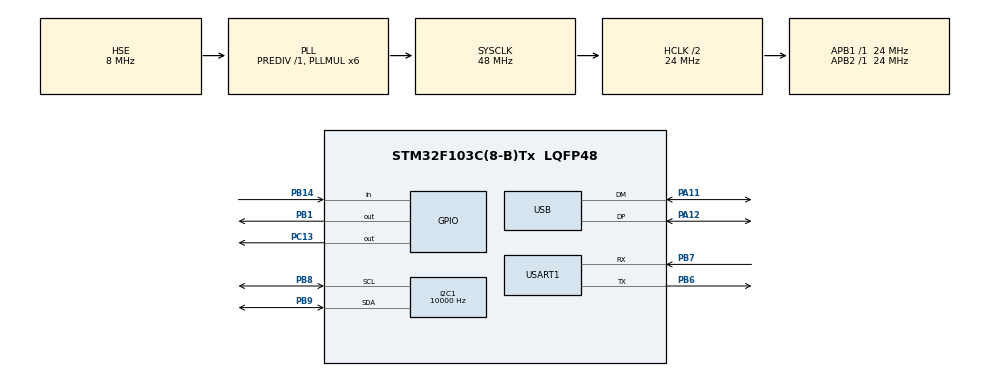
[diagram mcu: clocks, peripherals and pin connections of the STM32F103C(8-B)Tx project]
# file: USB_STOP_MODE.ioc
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I2C1.ClockSpeed=10000
Mcu.Family=STM32F1
Mcu.Name=STM32F103C(8-B)Tx
Mcu.Package=LQFP48
NVIC.PriorityGroup=NVIC_PRIORITYGROUP_4
NVIC.RTC_Alarm_IRQn=true\:0\:0\:false\:false\:true\:true\:true
NVIC.USB_LP_CAN1_RX0_IRQn=true\:0\:0\:false\:false\:true\:false\:true
PA11.Mode=Device
PA11.Signal=USB_DM
PA12.Mode=Device
PA12.Signal=USB_DP
PA13.Mode=Serial_Wire
PA13.Signal=SYS_JTMS-SWDIO
PA14.Mode=Serial_Wire
PA14.Signal=SYS_JTCK-SWCLK
PB1.Signal=GPIO_Output
PB14.GPIO_PuPd=GPIO_PULLDOWN
PB14.Signal=GPIO_Input
PB6.Mode=Asynchronous
PB6.Signal=USART1_TX
PB7.Mode=Asynchronous
PB7.Signal=USART1_RX
PB8.Mode=I2C
PB8.Signal=I2C1_SCL
PB9.Mode=I2C
PB9.Signal=I2C1_SDA
PC13-TAMPER-RTC.Signal=GPIO_Output
PC14-OSC32_IN.Mode=LSE-External-Oscillator
PC14-OSC32_IN.Signal=RCC_OSC32_IN
PC15-OSC32_OUT.Mode=LSE-External-Oscillator
PC15-OSC32_OUT.Signal=RCC_OSC32_OUT
PD0-OSC_IN.Mode=HSE-External-Oscillator
PD0-OSC_IN.Signal=RCC_OSC_IN
PD1-OSC_OUT.Mode=HSE-External-Oscillator
PD1-OSC_OUT.Signal=RCC_OSC_OUT
ProjectManager.HeapSize=0x200
ProjectManager.StackSize=0x400
ProjectManager.TargetToolchain=STM32CubeIDE
RCC.AHBCLKDivider=RCC_SYSCLK_DIV2
RCC.AHBFreq_Value=24000000
RCC.APB1Freq_Value=24000000
RCC.APB1TimFreq_Value=24000000
RCC.APB2Freq_Value=24000000
RCC.APB2TimFreq_Value=24000000
RCC.HCLKFreq_Value=24000000
RCC.PLLMUL=RCC_PLL_MUL6
RCC.RTCClockSelection=RCC_RTCCLKSOURCE_LSE
RCC.SYSCLKFreq_VALUE=48000000
RCC.SYSCLKSource=RCC_SYSCLKSOURCE_PLLCLK
RCC.USBFreq_Value=48000000
USART1.VirtualMode=VM_ASYNC
USB_DEVICE.CLASS_NAME_FS=CDC
USB_DEVICE.PRODUCT_STRING_CDC_FS=Data Logger
USB_DEVICE.VirtualMode=Cdc
USB_DEVICE.VirtualModeFS=Cdc_FS
VP_RTC_VS_RTC_Activate.Mode=RTC_Enabled
VP_USB_DEVICE_VS_USB_DEVICE_CDC_FS.Mode=CDC_FS
board=custom

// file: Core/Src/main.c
/* USER CODE BEGIN Header */
/**
 ******************************************************************************
 * @file           : main.c
 * @brief          : Main program body
 ******************************************************************************
 * @attention
 *
 * <h2><center>&copy; Copyright (c) 2021 STMicroelectronics.
 * All rights reserved.</center></h2>
 *
 * This software component is licensed by ST under BSD 3-Clause license,
 * the "License"; You may not use this file except in compliance with the
 * License. You may obtain a copy of the License at:
 *                        opensource.org/licenses/BSD-3-Clause
 *
 ******************************************************************************
 */
/* USER CODE END Header */
#include "main.h"
#include "usb_device.h"

/* USER CODE BEGIN Includes */
#include "bmp280.h"
#include <stdio.h>
#include <stdlib.h>
#include <string.h>
#include "usbd_cdc.h"
#include "usbd_cdc_if.h"
/* USER CODE END Includes */

/* USER CODE BEGIN PD */
#define RX_BUFF_SIZE   64  /* Max Received data 1KB */
#define DATA_BUFF_SIZE 256
#define SLEEP_TIME	   20U
/* USER CODE END PD */

/* USER CODE BEGIN PM */
#define LED_ON()	  HAL_GPIO_WritePin(GPIOC, GPIO_PIN_13, GPIO_PIN_RESET);
#define LED_OFF()	  HAL_GPIO_WritePin(GPIOC, GPIO_PIN_13, GPIO_PIN_SET);
#define LED_TOGGLE()  HAL_GPIO_TogglePin(GPIOC, GPIO_PIN_13);

/* USER CODE END PM */

USBD_HandleTypeDef  hUsbDeviceFS;

I2C_HandleTypeDef hi2c1;

RTC_HandleTypeDef hrtc;

UART_HandleTypeDef huart1;

/* USER CODE BEGIN PV */
volatile uint8_t sleep_enable = true;
uint8_t alarm_flag = 1;
volatile uint8_t usb_connected = false;
volatile int8_t usb_cdc_open = -1;
volatile uint8_t usb_buffer[RX_BUFF_SIZE];

uint16_t size;
uint8_t Data[DATA_BUFF_SIZE];

/* USER CODE END PV */

void SystemClock_Config(void);
static void MX_GPIO_Init(void);
static void MX_I2C1_Init(void);
static void MX_USART1_UART_Init(void);
static void MX_RTC_Init(void);
/* USER CODE BEGIN PFP */
void setAlarm(void);
void resetTime(void);
void HAL_RTC_AlarmAEventCallback(RTC_HandleTypeDef *hrtc); //This routine is called when alarm interrupt occurs
void enterSleepMode(void);
void enterStopMode(void);
void enterStandbyMode(void);
/* USER CODE END PFP */

/* USER CODE BEGIN 0 */
static void configurePB14Interrupt(void);
static void configurePA11Interrupt(void);
uint8_t usbPowerDetected(void);
uint8_t isUSBConnected(void);
void serialMenu();
void serialMenuUSB();
void sleepTest(void);
void stopTest(void);
/* USER CODE END 0 */

int main(void)
{

	/* MCU Configuration--------------------------------------------------------*/

	/* Reset of all peripherals, Initializes the Flash interface and the Systick. */
	HAL_Init();

	/* Configure the system clock */
	SystemClock_Config();

	/* Initialize all configured peripherals */
	MX_GPIO_Init();
	MX_I2C1_Init();
	MX_USART1_UART_Init();
	MX_USB_DEVICE_Init();
	MX_RTC_Init();
	/* USER CODE BEGIN 2 */
	const uint16_t DELAY_TIME = 1000;

	resetTime();
	char msg[] = "Startup...\r\n";
	LED_ON();
	HAL_UART_Transmit(&huart1, (uint8_t*) msg, sizeof(msg), HAL_MAX_DELAY);
	CDC_Transmit_FS((uint8_t*) msg, strlen(msg));

	HAL_Delay(DELAY_TIME);
	LED_OFF();
	HAL_Delay(DELAY_TIME);

	/* USER CODE END 2 */

	/* Infinite loop */
	while (1)
	{

		/* USER CODE BEGIN 3 */
		if ((usb_cdc_open != -1) && alarm_flag)
		{
			serialMenuUSB();
		}

		usb_connected = isUSBConnected();
		sleep_enable = !usb_connected;

		if (sleep_enable)
		{
			usb_connected = 0;
			LED_OFF();
			USBD_Stop(&hUsbDeviceFS);
			configurePA11Interrupt();
			enterStopMode();			// ~100uA
			// System clock set to HSI RC after waking from stop mode
			SystemClock_Config();
			HAL_ResumeTick();
			MX_USB_DEVICE_Init();
			LED_ON();
			resetTime();
			setAlarm();
			alarm_flag = 0;
			HAL_Delay(500);
		}

		if (alarm_flag)
		{
			resetTime();
			setAlarm();
			alarm_flag = 0;
		}
	}
	/* USER CODE END 3 */
}

void SystemClock_Config(void)
{
	RCC_OscInitTypeDef RCC_OscInitStruct =
	{ 0 };
	RCC_ClkInitTypeDef RCC_ClkInitStruct =
	{ 0 };
	RCC_PeriphCLKInitTypeDef PeriphClkInit =
	{ 0 };

	/** Initializes the RCC Oscillators according to the specified parameters
	 * in the RCC_OscInitTypeDef structure.
	 */
	RCC_OscInitStruct.OscillatorType = RCC_OSCILLATORTYPE_HSE
			| RCC_OSCILLATORTYPE_LSE;
	RCC_OscInitStruct.HSEState = RCC_HSE_ON;
	RCC_OscInitStruct.HSEPredivValue = RCC_HSE_PREDIV_DIV1;
	RCC_OscInitStruct.LSEState = RCC_LSE_ON;
	RCC_OscInitStruct.HSIState = RCC_HSI_ON;
	RCC_OscInitStruct.PLL.PLLState = RCC_PLL_ON;
	RCC_OscInitStruct.PLL.PLLSource = RCC_PLLSOURCE_HSE;
	RCC_OscInitStruct.PLL.PLLMUL = RCC_PLL_MUL6;
	if (HAL_RCC_OscConfig(&RCC_OscInitStruct) != HAL_OK)
	{
		Error_Handler();
	}
	/** Initializes the CPU, AHB and APB buses clocks
	 */
	RCC_ClkInitStruct.ClockType = RCC_CLOCKTYPE_HCLK | RCC_CLOCKTYPE_SYSCLK
			| RCC_CLOCKTYPE_PCLK1 | RCC_CLOCKTYPE_PCLK2;
	RCC_ClkInitStruct.SYSCLKSource = RCC_SYSCLKSOURCE_PLLCLK;
	RCC_ClkInitStruct.AHBCLKDivider = RCC_SYSCLK_DIV2;
	RCC_ClkInitStruct.APB1CLKDivider = RCC_HCLK_DIV1;
	RCC_ClkInitStruct.APB2CLKDivider = RCC_HCLK_DIV1;

	if (HAL_RCC_ClockConfig(&RCC_ClkInitStruct, FLASH_LATENCY_1) != HAL_OK)
	{
		Error_Handler();
	}
	PeriphClkInit.PeriphClockSelection = RCC_PERIPHCLK_RTC | RCC_PERIPHCLK_USB;
	PeriphClkInit.RTCClockSelection = RCC_RTCCLKSOURCE_LSE;
	PeriphClkInit.UsbClockSelection = RCC_USBCLKSOURCE_PLL;
	if (HAL_RCCEx_PeriphCLKConfig(&PeriphClkInit) != HAL_OK)
	{
		Error_Handler();
	}
}

static void MX_I2C1_Init(void)
{

	hi2c1.Instance = I2C1;
	hi2c1.Init.ClockSpeed = 10000;
	hi2c1.Init.DutyCycle = I2C_DUTYCYCLE_2;
	hi2c1.Init.OwnAddress1 = 0;
	hi2c1.Init.AddressingMode = I2C_ADDRESSINGMODE_7BIT;
	hi2c1.Init.DualAddressMode = I2C_DUALADDRESS_DISABLE;
	hi2c1.Init.OwnAddress2 = 0;
	hi2c1.Init.GeneralCallMode = I2C_GENERALCALL_DISABLE;
	hi2c1.Init.NoStretchMode = I2C_NOSTRETCH_DISABLE;
	if (HAL_I2C_Init(&hi2c1) != HAL_OK)
	{
		Error_Handler();
	}

}

static void MX_RTC_Init(void)
{

	/** Initialize RTC Only
	 */
	hrtc.Instance = RTC;
	hrtc.Init.AsynchPrediv = RTC_AUTO_1_SECOND;
	hrtc.Init.OutPut = RTC_OUTPUTSOURCE_NONE;
	if (HAL_RTC_Init(&hrtc) != HAL_OK)
	{
		Error_Handler();
	}

}

static void MX_USART1_UART_Init(void)
{

	huart1.Instance = USART1;
	huart1.Init.BaudRate = 115200;
	huart1.Init.WordLength = UART_WORDLENGTH_8B;
	huart1.Init.StopBits = UART_STOPBITS_1;
	huart1.Init.Parity = UART_PARITY_NONE;
	huart1.Init.Mode = UART_MODE_TX_RX;
	huart1.Init.HwFlowCtl = UART_HWCONTROL_NONE;
	huart1.Init.OverSampling = UART_OVERSAMPLING_16;
	if (HAL_UART_Init(&huart1) != HAL_OK)
	{
		Error_Handler();
	}

}

static void MX_GPIO_Init(void)
{
	GPIO_InitTypeDef GPIO_InitStruct =
	{ 0 };

	/* GPIO Ports Clock Enable */
	__HAL_RCC_GPIOC_CLK_ENABLE();
	__HAL_RCC_GPIOD_CLK_ENABLE();
	__HAL_RCC_GPIOB_CLK_ENABLE();
	__HAL_RCC_GPIOA_CLK_ENABLE();

	/*Configure GPIO pin Output Level */
	HAL_GPIO_WritePin(GPIOC, GPIO_PIN_13, GPIO_PIN_RESET);

	/*Configure GPIO pin Output Level */
	HAL_GPIO_WritePin(GPIOB, GPIO_PIN_1, GPIO_PIN_RESET);

	/*Configure GPIO pin : PC13 */
	GPIO_InitStruct.Pin = GPIO_PIN_13;
	GPIO_InitStruct.Mode = GPIO_MODE_OUTPUT_PP;
	GPIO_InitStruct.Pull = GPIO_NOPULL;
	GPIO_InitStruct.Speed = GPIO_SPEED_FREQ_LOW;
	HAL_GPIO_Init(GPIOC, &GPIO_InitStruct);

	/*Configure GPIO pin : PB1 */
	GPIO_InitStruct.Pin = GPIO_PIN_1;
	GPIO_InitStruct.Mode = GPIO_MODE_OUTPUT_PP;
	GPIO_InitStruct.Pull = GPIO_NOPULL;
	GPIO_InitStruct.Speed = GPIO_SPEED_FREQ_LOW;
	HAL_GPIO_Init(GPIOB, &GPIO_InitStruct);

	/*Configure GPIO pin : PB14 */
	GPIO_InitStruct.Pin = GPIO_PIN_14;
	GPIO_InitStruct.Mode = GPIO_MODE_INPUT;
	GPIO_InitStruct.Pull = GPIO_NOPULL;
	HAL_GPIO_Init(GPIOB, &GPIO_InitStruct);

}

/* USER CODE BEGIN 4 */

void EXTI15_10_IRQHandler(void)
{
	if ((EXTI->PR & EXTI_PR_PR14) != 0 || (EXTI->PR & EXTI_PR_PR11) != 0) /* Check line 11 has triggered the IT */
	{
//		usb_connected = usbPowerDetected();
		usb_connected = 1;
		EXTI->PR |= EXTI_PR_PR14; /* Clear the pending bit */
		EXTI->PR |= EXTI_PR_PR11; /* Clear the pending bit */
	}
	EXTI->PR |= 0U;
	NVIC_DisableIRQ(EXTI15_10_IRQn);
}

GPIO_PinState usbPowerDetected(void)
{
	return (HAL_GPIO_ReadPin(GPIOB, GPIO_PIN_14));
}

static void configurePB14Interrupt(void)
{
	GPIO_InitTypeDef GPIO_InitStruct =
	{ 0 };

	/*Configure GPIO pin : PB14 */
	GPIO_InitStruct.Pin = GPIO_PIN_14;
	GPIO_InitStruct.Mode = GPIO_MODE_EVT_RISING_FALLING;
	GPIO_InitStruct.Pull = GPIO_PULLDOWN;
	GPIO_InitStruct.Speed = GPIO_SPEED_FREQ_LOW;
	HAL_GPIO_Init(GPIOB, &GPIO_InitStruct);

	AFIO->EXTICR[4] = AFIO_EXTICR4_EXTI14_PA;

	EXTI->IMR = EXTI_IMR_MR14;
	NVIC_EnableIRQ(EXTI15_10_IRQn);
}

static void configurePA11Interrupt(void)
{
	GPIO_InitTypeDef GPIO_InitStruct =
	{ 0 };

	/*Configure GPIO pin : PA11 */
	GPIO_InitStruct.Pin = GPIO_PIN_11;
	GPIO_InitStruct.Mode = GPIO_MODE_EVT_RISING_FALLING;
	GPIO_InitStruct.Pull = GPIO_PULLDOWN;
	GPIO_InitStruct.Speed = GPIO_SPEED_FREQ_LOW;
	HAL_GPIO_Init(GPIOA, &GPIO_InitStruct);

	AFIO->EXTICR[3] = AFIO_EXTICR3_EXTI11_PA;

	EXTI->IMR = EXTI_IMR_MR11;
	NVIC_EnableIRQ(EXTI15_10_IRQn);
}

uint8_t isUSBConnected(void)
{
	uint8_t connected = 0;
	if (hUsbDeviceFS.dev_state == USBD_STATE_CONFIGURED)
	{
		connected = 1;
	}
	return (connected);
}

void serialMenu()
{
	char menu[] = "d - Download data\r\ns - Set epoch time\r\n";

	HAL_UART_Transmit(&huart1, (uint8_t*) menu, sizeof(menu), HAL_MAX_DELAY);

	if (HAL_UART_Receive(&huart1, Data, 1, HAL_MAX_DELAY) == HAL_OK)
	{
		HAL_UART_Transmit(&huart1, Data, size, HAL_MAX_DELAY);
		HAL_UART_Transmit(&huart1, (char*) '\n', 1, HAL_MAX_DELAY);
	}
}

void serialMenuUSB()
{
	size = sprintf(Data, "USB Connected\r\n");
	while (CDC_Transmit_FS(Data, size) != USBD_OK)
	{
		HAL_Delay(10);
	}
}

void sleepTest(void)
{
	while (1)
	{
		enterSleepMode();
	}
}

void stopTest(void)
{
	while (1)
	{
		enterStopMode();
	}
}

void HAL_RTC_AlarmAEventCallback(RTC_HandleTypeDef *hrtc)
{
	alarm_flag = 1;
}

void enterSleepMode(void)
{
	__HAL_PWR_CLEAR_FLAG(PWR_FLAG_WU);
	HAL_PWR_EnterSLEEPMode(PWR_LOWPOWERREGULATOR_ON, PWR_SLEEPENTRY_WFE);
}

void enterStopMode(void)
{
	EXTI->EMR = EXTI_EMR_MR17;				// event unmask line 17 (RTC)
	EXTI->RTSR = EXTI_RTSR_TR17;			// rising edge detection

	PWR->CR &= ~PWR_CR_PDDS;				// Enter stop mode when the CPU enters deepsleep.
	PWR->CR |= PWR_CR_LPDS; 				// Voltage regulator in low-power mode during Stop mode
	SCB->SCR |= SCB_SCR_SLEEPDEEP_Msk;			// sleep mode

	RCC->APB1ENR |= (RCC_APB1ENR_PWREN | RCC_APB1ENR_BKPEN); //Enable the power and backup interface clocks
    RCC->BDCR |=  RCC_BDCR_BDRST;			// reset backup domain
    RCC->BDCR &= ~RCC_BDCR_BDRST;			// reset backup domain

	PWR->CR |= PWR_CR_DBP;             	  	// enable access to the backup registers and the RTC.
	/* Note: The LSEON, LSEBYP, RTCSEL and RTCEN bits of the Backup domain control register (RCC_BDCR)
	 * are in the Backup domain. As a result, after Reset, these bits are write- protected and the DBP bit
	 * in the Power control register (PWR_CR) has to be set before these can be modified.
	 * These bits are only reset after a Backup domain Reset. Any internal or external Reset will not have
	 * any effect on these bits. */

	RCC->BDCR |= RCC_BDCR_LSEON;			// external low freq oscillator
	while(!(RCC->BDCR & RCC_BDCR_LSERDY)) asm("nop"); 	// Wait for LSE ready

//	RCC->CSR |= RCC_CSR_LSION;				// internal low freq oscillator
//	while(!(RCC->CSR & RCC_CSR_LSIRDY)); 	// Wait for LSI ready

//	RCC->BDCR |= RCC_BDCR_RTCSEL_LSI;		// LSI source
	RCC->BDCR |= RCC_BDCR_RTCSEL_LSE;		// LSE source
	RCC->BDCR |= RCC_BDCR_RTCEN;			// RTC on

	RTC->CRL &= (uint16_t)~RTC_FLAG_RSF;	// clear RSF flag
	while (!(RTC->CRL & RTC_CRL_RSF));		// Wait for the RSF to be set by hardware

	// config mode to set prescaler and alarm setting
	while (!(RTC->CRL & RTC_CRL_RTOFF));			// wait until RTOFF = 1
	RTC->CRL |= RTC_CRL_CNF;						// enter configuration mode
	RTC->PRLH = (uint16_t)0;
	RTC->PRLL = (uint16_t)32767;					// RTC prescaler - RTCCLK = 32.768 kHz = 0x7FFF = 1 second
	RTC->ALRH = (uint16_t)0;
	RTC->ALRL = (uint16_t)SLEEP_TIME;						// alarm N seconds
	RTC->CRL &= (uint16_t)~((uint16_t)RTC_CRL_CNF); // exit configuration mode
	while (!(RTC->CRL & RTC_CRL_RTOFF));			// wait until RTOFF = 1

	EXTI->PR &= EXTI_PR_PR17;							// reset pending interrupts
	RTC->CRL &= (uint16_t)~((uint16_t)RTC_CRL_ALRF);	// clear alarm flag

	__WFE();								// enter stop mode
}

void enterStandbyMode(void)
{
	__HAL_PWR_CLEAR_FLAG(PWR_FLAG_WU);
	HAL_PWR_EnterSTANDBYMode();
}

void setAlarm(void)
{
	RTC_AlarmTypeDef sAlarm;

	sAlarm.AlarmTime.Hours = 0U;
	sAlarm.AlarmTime.Minutes = 0U;
	sAlarm.AlarmTime.Seconds = SLEEP_TIME;
	sAlarm.Alarm = RTC_ALARM_A;

	if (HAL_RTC_SetAlarm_IT(&hrtc, &sAlarm, RTC_FORMAT_BIN) != HAL_OK)
	{
		Error_Handler();
	}
}

void resetTime(void)
{
	RTC_TimeTypeDef sTime;

	sTime.Hours = 0U;
	sTime.Minutes = 0U;
	sTime.Seconds = 0U;

	if (HAL_RTC_SetTime(&hrtc, &sTime, RTC_FORMAT_BIN) != HAL_OK)
	{
		Error_Handler();
	}
}
/* USER CODE END 4 */

void Error_Handler(void)
{
	__disable_irq();
	while (1)
	{
	}
}

/************************ (C) COPYRIGHT STMicroelectronics *****END OF FILE****/
